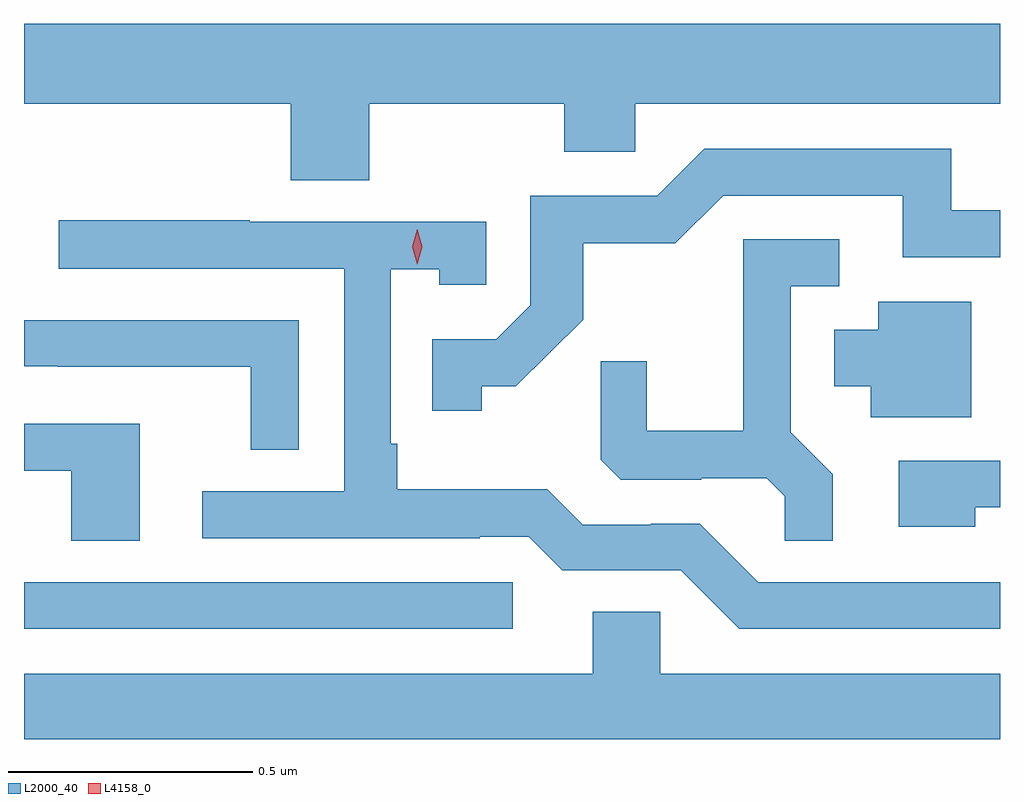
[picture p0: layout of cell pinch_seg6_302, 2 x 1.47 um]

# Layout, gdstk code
import gdstk
lib = gdstk.Library(unit=1e-6, precision=1e-09)
def R(c, l, rs):  # rectangles x0, y0, x1, y1
    for r in rs: c.add(gdstk.rectangle(r[:2], r[2:], *l))
def P(c, l, *ps):  # polygons
    for p in ps: c.add(gdstk.Polygon(p, *l))
L2000_40 = (2000, 40)
L4158_0 = (4158, 0)

pinch_seg6_302 = lib.new_cell('pinch_seg6_302')
R(pinch_seg6_302, L2000_40, [(782.524,991.548,783.526,991.644)])
P(pinch_seg6_302, L2000_40, [(783.231,992.624),(783.631,992.624),(783.631,992.526),(783.777,992.526),(783.777,992.624),(784.524,992.624),(784.524,992.788),(782.524,992.788),(782.524,992.624),(783.071,992.624),(783.071,992.467),(783.231,992.467)],
  [(783.462,992.045),(783.532,992.045),(783.67,992.182),(783.67,992.338),(783.859,992.338),(783.957,992.436),(784.325,992.436),(784.325,992.31),(784.524,992.31),(784.524,992.406),(784.424,992.406),(784.424,992.532),(783.918,992.532),(783.822,992.436),(783.561,992.436),(783.561,992.211),(783.492,992.142),(783.361,992.142),(783.361,991.995),(783.462,991.995)],
  [(784.524,991.644),(784.029,991.644),(783.909,991.764),(783.808,991.764),(783.808,991.761),(783.669,991.761),(783.596,991.834),(783.289,991.834),(783.289,991.927),(783.276,991.927),(783.276,992.285),(783.375,992.285),(783.375,992.253),(783.471,992.253),(783.471,992.382),(782.987,992.382),(782.987,992.385),(782.595,992.385),(782.595,992.286),(783.18,992.286),(783.18,991.83),(782.889,991.83),(782.889,991.734),(783.458,991.734),(783.458,991.737),(783.558,991.737),(783.627,991.668),(783.87,991.668),(783.99,991.548),(784.524,991.548)],
  [(784.181,991.865),(784.095,991.951),(784.095,992.25),(784.195,992.25),(784.195,992.346),(783.998,992.346),(783.998,991.954),(783.8,991.954),(783.8,992.097),(783.706,992.097),(783.706,991.895),(783.747,991.854),(783.912,991.854),(783.912,991.857),(784.046,991.857),(784.083,991.82),(784.083,991.729),(784.181,991.729)],
  [(784.465,992.218),(784.274,992.218),(784.274,992.161),(784.184,992.161),(784.184,992.045),(784.259,992.045),(784.259,991.982),(784.465,991.982)],
  [(783.087,992.181),(782.524,992.181),(782.524,992.086),(782.593,992.086),(782.593,992.085),(782.989,992.085),(782.989,991.915),(783.087,991.915)],
  [(782.761,991.968),(782.524,991.968),(782.524,991.872),(782.621,991.872),(782.621,991.729),(782.761,991.729)],
  [(784.473,991.797),(784.524,991.797),(784.524,991.893),(784.317,991.893),(784.317,991.757),(784.473,991.757)],
  [(784.524,991.456),(783.828,991.456),(783.828,991.583),(783.689,991.583),(783.689,991.456),(782.524,991.456),(782.524,991.322),(784.524,991.322)])
P(pinch_seg6_302, L4158_0, [(783.33,992.295),(783.33,992.295),(783.32,992.331),(783.33,992.367),(783.33,992.367),(783.33,992.367),(783.34,992.331),(783.33,992.295)])

lib.write_gds('pinch_seg6_302.gds')
